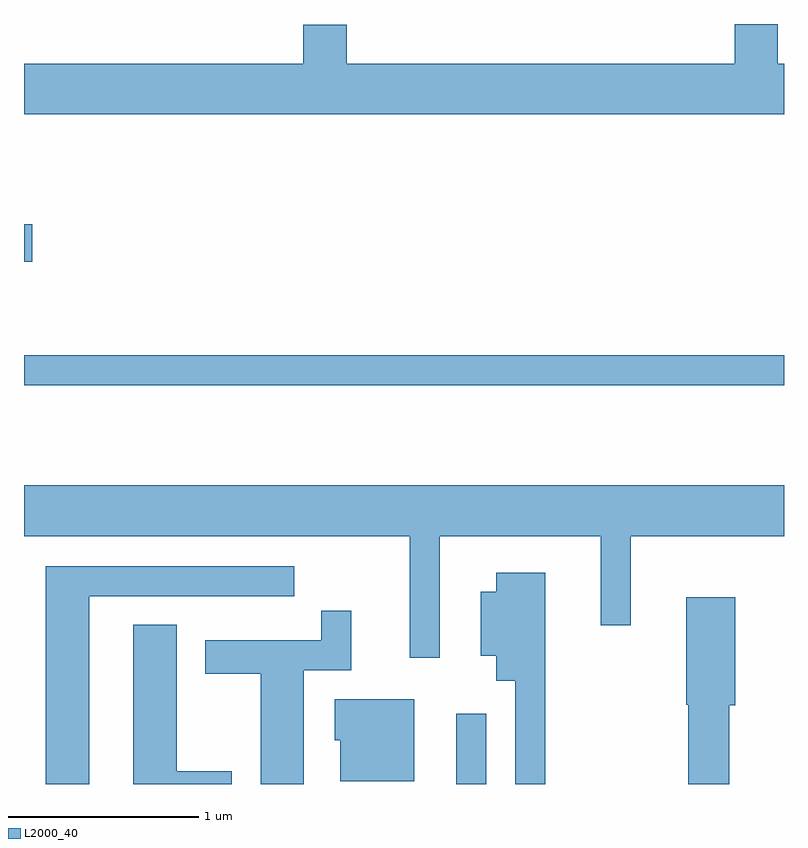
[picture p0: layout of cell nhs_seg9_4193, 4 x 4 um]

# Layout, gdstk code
import gdstk
lib = gdstk.Library(unit=1e-6, precision=1e-09)
def R(c, l, rs):  # rectangles x0, y0, x1, y1
    for r in rs: c.add(gdstk.rectangle(r[:2], r[2:], *l))
def P(c, l, *ps):  # polygons
    for p in ps: c.add(gdstk.Polygon(p, *l))
L2000_40 = (2000, 40)

nhs_seg9_4193 = lib.new_cell('nhs_seg9_4193')
R(nhs_seg9_4193, L2000_40, [(309.886,2070.432,310.044,2070.803), (307.611,2072.531,311.611,2072.689), (307.611,2073.181,307.654,2073.379)])
P(nhs_seg9_4193, L2000_40, [(311.611,2074.224),(311.579,2074.224),(311.579,2074.432),(311.351,2074.432),(311.351,2074.224),(309.309,2074.224),(309.309,2074.429),(309.081,2074.429),(309.081,2074.224),(307.611,2074.224),(307.611,2073.956),(311.611,2073.956)],
  [(309.799,2071.736),(310.646,2071.736),(310.646,2071.268),(310.804,2071.268),(310.804,2071.736),(311.611,2071.736),(311.611,2072.004),(307.611,2072.004),(307.611,2071.736),(309.641,2071.736),(309.641,2071.097),(309.799,2071.097)],
  [(307.954,2071.421),(309.033,2071.421),(309.033,2071.579),(307.726,2071.579),(307.726,2070.432),(307.954,2070.432)],
  [(310.354,2071.544),(310.096,2071.544),(310.096,2071.444),(310.016,2071.444),(310.016,2071.106),(310.096,2071.106),(310.096,2070.976),(310.196,2070.976),(310.196,2070.432),(310.354,2070.432)],
  [(311.324,2070.846),(311.354,2070.846),(311.354,2071.414),(311.096,2071.414),(311.096,2070.85),(311.106,2070.85),(311.106,2070.432),(311.324,2070.432)],
  [(309.084,2071.031),(309.334,2071.031),(309.334,2071.343),(309.176,2071.343),(309.176,2071.189),(308.566,2071.189),(308.566,2071.011),(308.856,2071.011),(308.856,2070.432),(309.084,2070.432)],
  [(308.704,2070.499),(308.414,2070.499),(308.414,2071.269),(308.186,2071.269),(308.186,2070.432),(308.704,2070.432)],
  [(309.664,2070.879),(309.246,2070.879),(309.246,2070.661),(309.276,2070.661),(309.276,2070.446),(309.664,2070.446)])

lib.write_gds('nhs_seg9_4193.gds')
